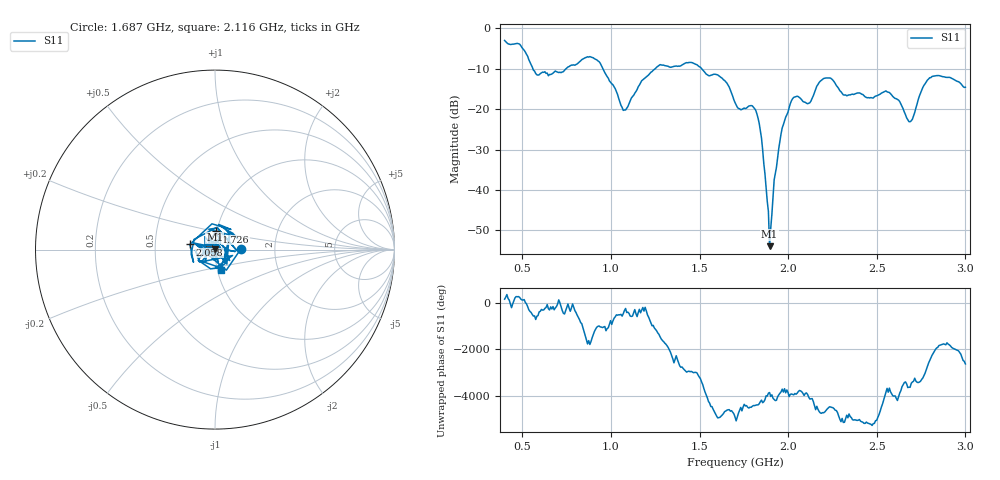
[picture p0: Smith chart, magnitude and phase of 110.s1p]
!Created with skrf (http://scikit-rf.org).
# Hz S RI R 50.0
!freq ReS11 ImS11
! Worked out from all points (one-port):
!   401 points, 400 MHz to 3 GHz, reference 50 ohm
!   lowest |S11| = -53.9 dB at 1.895 GHz (marker M1), VSWR 1.00, Z = 49.9 + j0.171 ohm
!   |S11| at or under -10 dB: 559.6 MHz to 746.5 MHz (186.9 MHz wide, 28.6 % of centre); 954.9 MHz to 1.25 GHz (294.8 MHz wide, 26.7 % of centre); 1.512 GHz to end of sweep
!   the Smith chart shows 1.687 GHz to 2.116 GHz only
!   S11 on the Smith chart (normalised r, x): 1.687 GHz: 1.34, +0.01; 1.726 GHz: 0.99, +0.20; 2.058 GHz: 0.75, +0.04; 2.116 GHz: 1.04, -0.24
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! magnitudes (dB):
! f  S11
! 400 MHz  -3.0
! 491 MHz  -4.3
! 582 MHz  -11.5
! 725 MHz  -10.8
! 907 MHz  -7.5
! 1.05 GHz  -18.1
! 1.083 GHz  -20.2
! 1.271 GHz  -9.2
! 1.375 GHz  -9.4
! 1.603 GHz  -11.5
! 1.687 GHz  -16.8
! 1.7 GHz  -18.4
! 1.726 GHz  -19.9
! 1.823 GHz  -21.1
! 1.849 GHz  -27.2
! 1.895 GHz  -53.9
! 1.908 GHz  -46.1
! 1.927 GHz  -35.9
! 1.96 GHz  -26.1
! 2.025 GHz  -17.4
! 2.058 GHz  -16.9
! 2.116 GHz  -18.5
! 2.213 GHz  -12.3
! 2.35 GHz  -16.5
! 2.564 GHz  -15.8
! 2.675 GHz  -22.6
! 2.805 GHz  -12.2
! 3 GHz  -14.6
